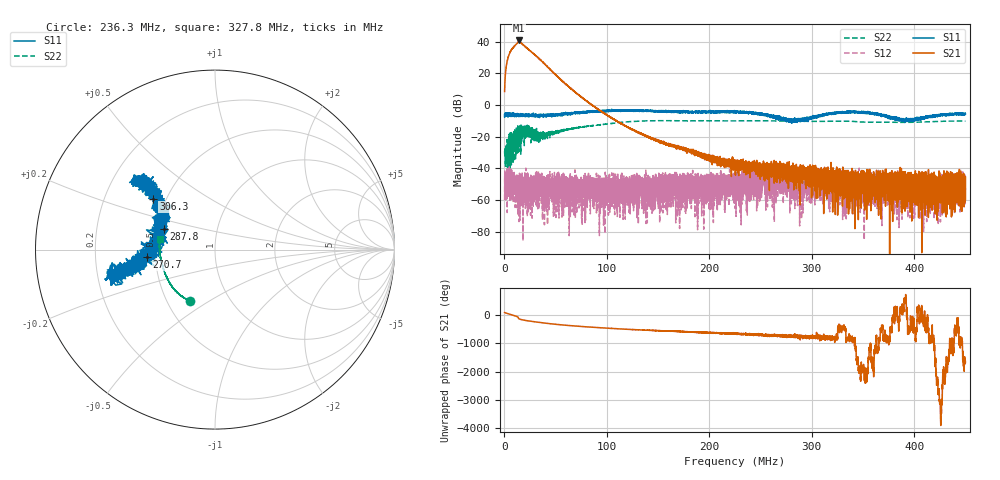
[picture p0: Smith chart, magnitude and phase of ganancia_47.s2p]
# Hz S DB R 50
! CMT, M5065, 19127446, 24.2.4/2
! Date: 12/3/2024 4:28:53 PM
! Data: Format (Calibration Info)
! Freq	S11:dB/Ang(F2)	S21:dB/Ang(F2)	S12:dB/Ang(F2)	S22:dB/Ang(F2)
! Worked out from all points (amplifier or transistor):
!   9000 points, 300 kHz to 450 MHz, reference 50 ohm
!   highest |S21| = 40.9 dB at 14.09 MHz (marker M1)
!   |S21| within 3 dB of that: 10.76 MHz to 18.79 MHz (8.026 MHz wide, 54.3 % of centre)
!   unconditionally stable (mu >= 1): start of sweep to 8.894 MHz; 8.9 MHz to 12.84 MHz; 21 MHz to end of sweep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
!   at 75.26 MHz: K = 32.51, MAG = 7.2 dB, |S12| = -45.7 dB
!   at 225.2 MHz: K = 16993.48, MAG = -38.2 dB, |S12| = -55.1 dB
!   at 450 MHz: K = 28571.39, MAG = -43.6 dB, |S12| = -53.4 dB
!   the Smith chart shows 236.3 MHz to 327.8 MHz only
!   S11 on the Smith chart (normalised r, x): 236.3 MHz: 0.26, -0.12; 270.7 MHz: 0.45, -0.04; 287.8 MHz: 0.54, +0.14; 306.3 MHz: 0.43, +0.30; 327.8 MHz: 0.30, +0.34
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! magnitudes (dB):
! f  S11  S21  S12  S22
! 300 kHz  -6.1  8.6  -59.9  -30.6
! 2.549 MHz  -5.9  26.9  -50.5  -28.8
! 4.797 MHz  -6.3  32.2  -43.5  -20.2
! 14.09 MHz  -7.3  40.9  -56.5  -19.8
! 21.84 MHz  -6.3  36.2  -52.7  -16.4
! 35.48 MHz  -6.3  28.4  -50.6  -19.5
! 75.26 MHz  -4.3  5.0  -45.7  -14.0
! 113.9 MHz  -3.9  -11.3  -44.2  -11.0
! 150.2 MHz  -3.7  -22.8  -47.6  -9.9
! 225.2 MHz  -4.1  -40.8  -55.1  -10.0
! 236.3 MHz  -4.6  -38.6  -50.8  -9.9
! 270.7 MHz  -8.4  -42.3  -45.6  -10.0
! 287.8 MHz  -10.3  -46.0  -50.2  -10.2
! 300.1 MHz  -7.2  -43.4  -51.4  -10.3
! 306.3 MHz  -7.0  -44.5  -45.9  -10.3
! 327.8 MHz  -4.8  -46.4  -48.9  -10.1
! 363.3 MHz  -6.3  -41.2  -62.6  -10.7
! 375.1 MHz  -7.0  -43.3  -45.3  -10.8
! 383.8 MHz  -8.9  -55.1  -56.0  -10.9
! 422.8 MHz  -6.1  -51.1  -56.2  -10.3
! 447.7 MHz  -5.7  -52.5  -60.5  -10.0
! 450 MHz  -5.5  -45.4  -53.4  -10.0
